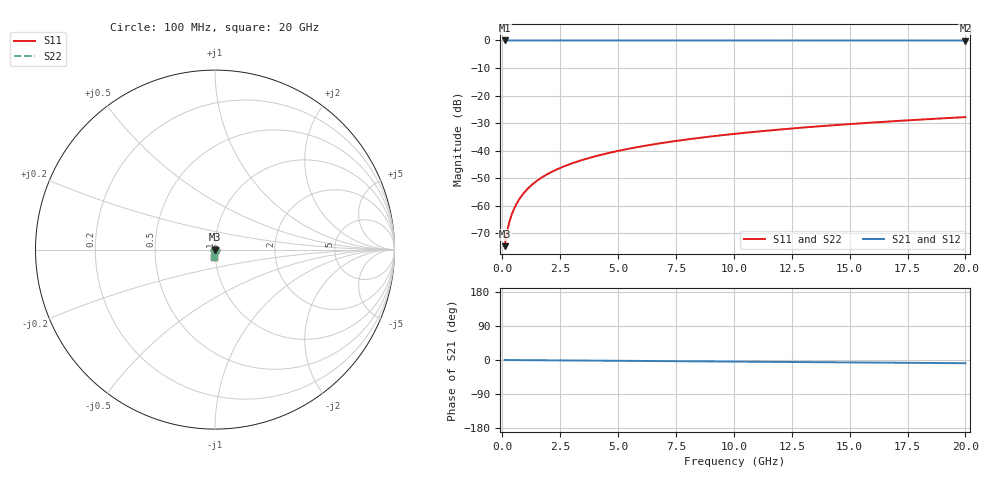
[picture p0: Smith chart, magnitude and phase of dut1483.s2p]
! Touchstone file exported from HFSS 2026.1.0
!  File:  C:/ffzhzh/LocalFiles/Ansys_Project_Files/temp_train_TSV_1483_1783198654_43440.aedt
!  Generated:  04:58:59 AM Jul  5, 2026
!  Design:  TSV
!  Project:  temp_train_TSV_1483_1783198654_43440
! Variables:
!  h_bsmrdl = 2um
!  h_ox = 20um
!  h_rdl = 5um
!  h_sub = 84.21um
!  h_tmrdl = 5um
!  h_tsv = 84.21um
!  h_via = 3um
!  l_bsmrdl = 300um
!  l_sub = 425.54um
!  l_tmrdl = 200um
!  m_sub = 200um
!  pitch = 39.79um
!  r_tsv = 12.77um
!  s_tmrdl = 10um
!  w_bsmrdl = 18um
!  w_sub = 500um
!  w_tmrdl = 12um
!  x_tsv_center1 = 206um
!  x_tsv_center2 = 524um
!  x_tsv_center3 = 736um
!  x_tsv_center4 = 1054um
!  x_tsv_center5 = 1266um
!  x_tsv_center6 = 1584um
# GHz S MA R 50.000000
! Terminal data exported
! Port[1] = TSV1_1_T1
! Port[2] = TSV1_1_T2
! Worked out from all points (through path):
!   200 points, 100 MHz to 20 GHz, reference 50 ohm
!   highest |S21| = 0.00 dB at 100 MHz (marker M1); lowest = 0.0 dB at 20 GHz (marker M2)
!   group delay of S21, straight-line fit = 1.17 ps
!   lowest |S11| = -74.7 dB at 100 MHz (marker M3), VSWR 1.00, Z = 50 - j0.0155 ohm
!   |S11| at or under -10 dB: start of sweep to end of sweep
!   |S22| runs from -74.7 to -27.9 dB; largest |S21 - S12| = 2.9e-15
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0.1  0.0001832 -58.0  0.9999 -0.0  0.9999 -0.0  0.0001832 -58.0
! Gamma 0 0 0 0
! Port Impedance 50 0 50 0
0.2  0.0003344 -70.4  0.9999 -0.1  0.9999 -0.1  0.0003344 -70.4
0.3  0.0004998 -74.5  0.9999 -0.1  0.9999 -0.1  0.0004998 -74.5
0.4  0.000675 -76.4  0.9998 -0.2  0.9998 -0.2  0.000675 -76.4
0.5  0.000858 -77.6  0.9998 -0.2  0.9998 -0.2  0.000858 -77.6
0.7  0.00124 -79.3  0.9998 -0.3  0.9998 -0.3  0.00124 -79.3
0.8  0.001436 -79.9  0.9997 -0.3  0.9997 -0.3  0.001436 -79.9
1  0.001832 -81.2  0.9997 -0.4  0.9997 -0.4  0.001832 -81.2
1.2  0.002231 -82.2  0.9997 -0.5  0.9997 -0.5  0.002231 -82.2
1.4  0.002631 -83.0  0.9996 -0.6  0.9996 -0.6  0.002631 -83.0
1.7  0.003231 -84.1  0.9996 -0.7  0.9996 -0.7  0.003231 -84.1
2  0.003831 -84.9  0.9996 -0.9  0.9996 -0.9  0.003831 -84.9
2.7  0.005229 -86.2  0.9995 -1.2  0.9995 -1.2  0.005229 -86.2
3.5  0.006832 -87.2  0.9995 -1.5  0.9995 -1.5  0.006832 -87.2
4.2  0.008241 -87.9  0.9994 -1.8  0.9994 -1.8  0.008241 -87.9
5  0.009857 -88.6  0.9993 -2.1  0.9993 -2.1  0.009857 -88.6
6.8  0.01351 -89.8  0.9992 -2.9  0.9992 -2.9  0.01351 -89.8
8.3  0.01657 -90.8  0.9991 -3.5  0.9991 -3.5  0.01657 -90.8
10.1  0.02025 -91.8  0.9989 -4.3  0.9989 -4.3  0.02025 -91.8
13.4  0.027 -93.5  0.9986 -5.7  0.9986 -5.7  0.027 -93.5
16.7  0.03375 -95.1  0.9983 -7.0  0.9983 -7.0  0.03375 -95.1
20  0.0405 -96.7  0.9979 -8.4  0.9979 -8.4  0.0405 -96.7
